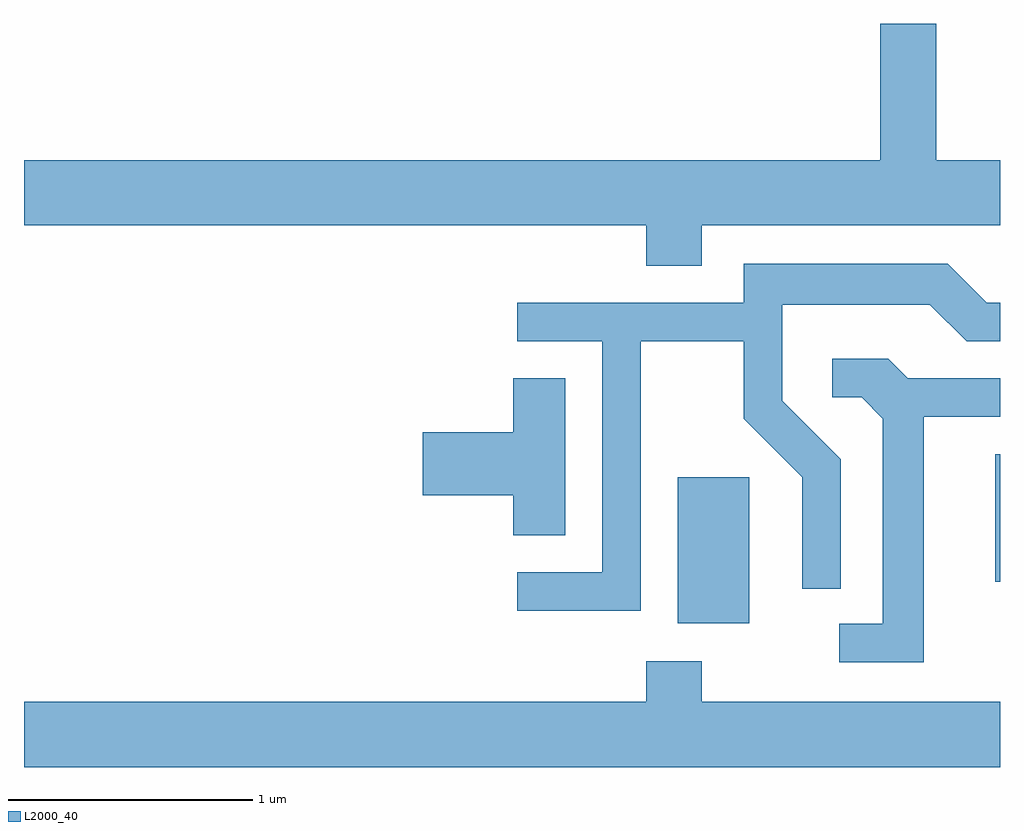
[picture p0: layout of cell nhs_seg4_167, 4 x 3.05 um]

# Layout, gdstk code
import gdstk
lib = gdstk.Library(unit=1e-6, precision=1e-09)
def R(c, l, rs):  # rectangles x0, y0, x1, y1
    for r in rs: c.add(gdstk.rectangle(r[:2], r[2:], *l))
def P(c, l, *ps):  # polygons
    for p in ps: c.add(gdstk.Polygon(p, *l))
L2000_40 = (2000, 40)

nhs_seg4_167 = lib.new_cell('nhs_seg4_167')
R(nhs_seg4_167, L2000_40, [(192.291,1317.526,192.584,1318.124), (193.591,1317.696,193.611,1318.219)])
P(nhs_seg4_167, L2000_40, [(192.389,1319.156),(193.611,1319.156),(193.611,1319.424),(193.349,1319.424),(193.349,1319.982),(193.121,1319.982),(193.121,1319.424),(189.611,1319.424),(189.611,1319.156),(192.161,1319.156),(192.161,1318.991),(192.389,1318.991)],
  [(192.139,1318.681),(192.561,1318.681),(192.561,1318.364),(192.801,1318.124),(192.801,1317.668),(192.959,1317.668),(192.959,1318.197),(192.719,1318.437),(192.719,1318.831),(193.324,1318.831),(193.474,1318.681),(193.611,1318.681),(193.611,1318.839),(193.557,1318.839),(193.397,1318.999),(192.561,1318.999),(192.561,1318.839),(191.633,1318.839),(191.633,1318.681),(191.981,1318.681),(191.981,1317.734),(191.633,1317.734),(191.633,1317.576),(192.139,1317.576)],
  [(193.299,1318.371),(193.611,1318.371),(193.611,1318.529),(193.232,1318.529),(193.152,1318.609),(192.923,1318.609),(192.923,1318.451),(193.044,1318.451),(193.131,1318.364),(193.131,1317.524),(192.953,1317.524),(192.953,1317.366),(193.299,1317.366)],
  [(191.829,1318.529),(191.616,1318.529),(191.616,1318.309),(191.246,1318.309),(191.246,1318.051),(191.616,1318.051),(191.616,1317.886),(191.829,1317.886)],
  [(193.611,1317.204),(192.389,1317.204),(192.389,1317.369),(192.161,1317.369),(192.161,1317.204),(189.611,1317.204),(189.611,1316.936),(193.611,1316.936)])

lib.write_gds('nhs_seg4_167.gds')
